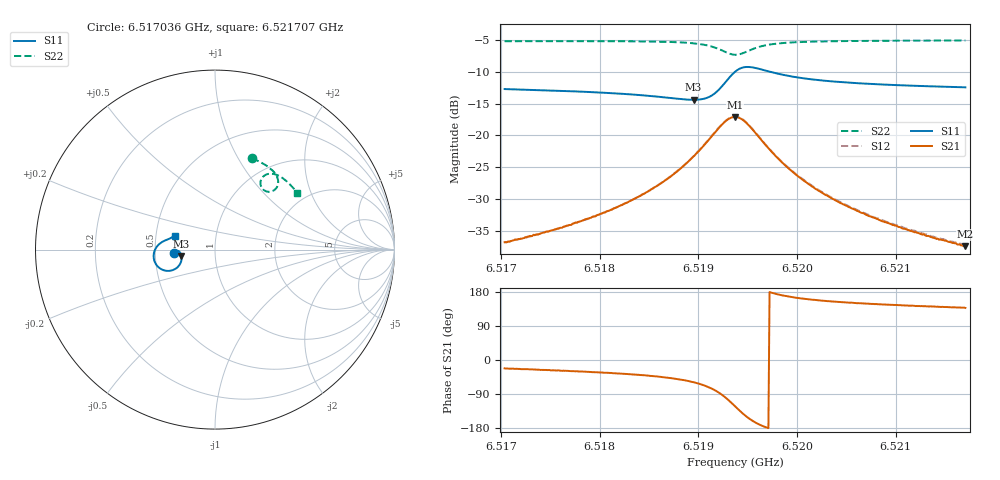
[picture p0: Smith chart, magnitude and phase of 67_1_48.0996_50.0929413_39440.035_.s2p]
#  HZ  S  RI  R  50.00
! Rohde & Schwarz Vector Network Analyzer
! Rohde-Schwarz,ZNB20-2Port,1311601062101988,3.16
! Created: UTC 12/23/2023, 3:41:22 AM
! freq[Hz]  re:S11  im:S11  re:S21  im:S21  re:S12  im:S12  re:S22  im:S22
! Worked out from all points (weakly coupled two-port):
!   401 points, 6.517036 GHz to 6.521707 GHz, reference 50 ohm
!   highest |S21| = -17.11 dB at 6.519372 GHz (marker M1); lowest = -37.4 dB at 6.521707 GHz (marker M2)
!   lowest |S11| = -14.4 dB at 6.518951 GHz (marker M3), VSWR 1.47, Z = 34.2 - j2.48 ohm
!   |S11| at or under -10 dB: start of sweep to 6.519373 GHz; 6.519723 GHz to end of sweep
!   |S22| runs from -7.3 to -5.1 dB; largest |S21 - S12| = 0.0043
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6.5170363e9  -0.2303 -0.0166  0.0134 -0.00542  0.0135 -0.0051  0.2063 0.5082
6.5173165e9  -0.2272 -0.0124  0.0147 -0.00678  0.0149 -0.00638  0.227 0.4997
6.5178186e9  -0.2202 -0.00652  0.0184 -0.0108  0.0186 -0.0102  0.2642 0.481
6.5182974e9  -0.2101 -0.00496  0.0241 -0.0183  0.0246 -0.0176  0.3003 0.4577
6.518601e9  -0.2005 -0.00957  0.0295 -0.0285  0.0305 -0.0277  0.324 0.437
6.5187995e9  -0.1926 -0.0194  0.0336 -0.0413  0.0352 -0.0404  0.3394 0.4174
6.5189513e9  -0.1869 -0.035  0.0356 -0.0582  0.0375 -0.0575  0.3493 0.3959
6.5190564e9  -0.1862 -0.0538  0.033 -0.0766  0.0354 -0.0761  0.3521 0.3752
6.5191498e9  -0.1936 -0.0784  0.0224 -0.0989  0.0254 -0.0989  0.3469 0.3521
6.5192782e9  -0.237 -0.1148  -0.0218 -0.1277  -0.0184 -0.1293  0.3133 0.3237
6.5193249e9  -0.2652 -0.1186  -0.0479 -0.1281  -0.0445 -0.1305  0.2927 0.3229
6.5193716e9  -0.2954 -0.111  -0.0739 -0.1182  -0.0712 -0.1215  0.2727 0.3314
6.5194183e9  -0.3206 -0.0923  -0.0943 -0.0991  -0.0923 -0.1025  0.2587 0.3477
6.5194767e9  -0.3385 -0.0605  -0.1067 -0.0694  -0.1055 -0.0731  0.2531 0.3723
6.5195818e9  -0.3376 -0.00969  -0.1004 -0.0261  -0.1006 -0.0291  0.2674 0.4058
6.5196752e9  -0.3231 0.0176  -0.0849 -0.00506  -0.0855 -0.00746  0.2879 0.4192
6.5198971e9  -0.2913 0.0443  -0.0554 0.0114  -0.0562 0.0101  0.3279 0.4213
6.520154e9  -0.2696 0.0545  -0.037 0.0141  -0.0379 0.0133  0.3583 0.4098
6.5204693e9  -0.254 0.0606  -0.0254 0.0133  -0.0263 0.0128  0.3851 0.392
6.5209363e9  -0.24 0.0675  -0.0168 0.0115  -0.0173 0.0111  0.4161 0.3645
6.5213917e9  -0.2306 0.0738  -0.0121 0.00982  -0.0126 0.00978  0.4412 0.3368
6.521707e9  -0.2251 0.0781  -0.00992 0.00912  -0.0105 0.0091  0.4566 0.3174
